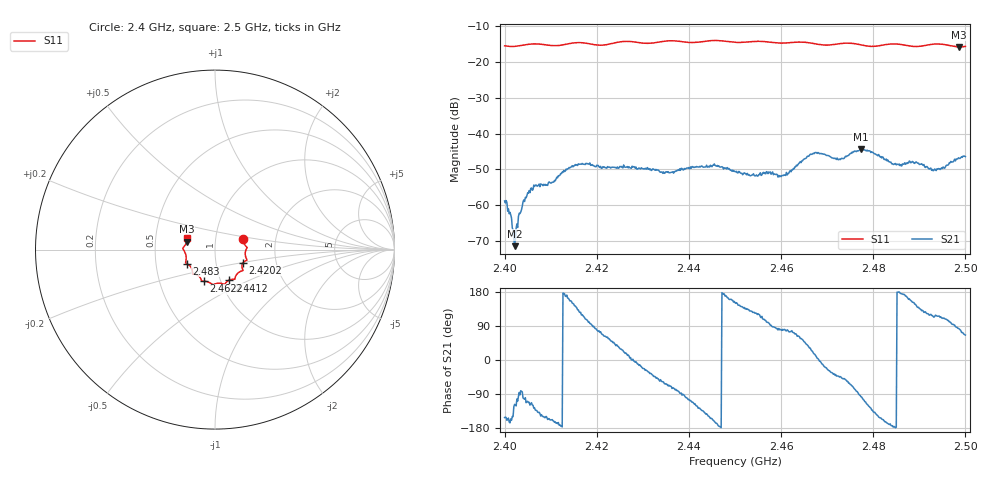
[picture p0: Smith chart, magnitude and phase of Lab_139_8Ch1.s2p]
# Hz S RI R 50
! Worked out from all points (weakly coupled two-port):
!   601 points, 2.4 GHz to 2.5 GHz, reference 50 ohm
!   highest |S21| = -44.28 dB at 2.4773 GHz (marker M1); lowest = -71.5 dB at 2.4022 GHz (marker M2)
!   lowest |S11| = -15.8 dB at 2.4987 GHz (marker M3), VSWR 1.39, Z = 36.3 + j3.29 ohm
!   |S11| at or under -10 dB: start of sweep to end of sweep
!   S12 and S22 are empty: the file has one direction only
!   S11 on the Smith chart (normalised r, x): 2.4 GHz: 1.36, +0.17; 2.4202 GHz: 1.36, -0.20; 2.4412 GHz: 1.09, -0.39; 2.4622 GHz: 0.83, -0.30; 2.483 GHz: 0.72, -0.12; 2.5 GHz: 0.73, +0.09
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2.4e9  0.1573 0.0602  -0.00101 -0.000539  0 0  0 0
2.400833e9  0.1583 0.0509  -0.000789 -0.000396  0 0  0 0
2.402167e9  0.162 0.0353  -0.000121 -0.000237  0 0  0 0
2.4045e9  0.1735 0.0177  -0.000211 -0.00126  0 0  0 0
2.406167e9  0.1788 0.0129  -0.000812 -0.00143  0 0  0 0
2.4105e9  0.1693 -0.013  -0.00196 -0.000697  0 0  0 0
2.416667e9  0.1771 -0.0588  -0.0018 0.00326  0 0  0 0
2.420167e9  0.157 -0.0724  0.000793 0.00348  0 0  0 0
2.433333e9  0.1136 -0.1519  0.00202 -0.00235  0 0  0 0
2.441167e9  0.0758 -0.172  -0.00149 -0.00301  0 0  0 0
2.445667e9  0.0524 -0.1936  -0.00347 -0.000933  0 0  0 0
2.45e9  0.0268 -0.1871  -0.00258 0.0014  0 0  0 0
2.459833e9  -0.0414 -0.1795  0.000406 0.00252  0 0  0 0
2.462167e9  -0.0625 -0.1768  0.000758 0.00282  0 0  0 0
2.466667e9  -0.0774 -0.1665  0.00466 0.0021  0 0  0 0
2.472833e9  -0.1194 -0.1362  0.00312 -0.00299  0 0  0 0
2.477333e9  -0.1258 -0.12  -0.000747 -0.00606  0 0  0 0
2.483e9  -0.1584 -0.0781  -0.00403 -0.000989  0 0  0 0
2.483333e9  -0.1601 -0.0773  -0.00398 -0.00077  0 0  0 0
2.493167e9  -0.1783 0.00367  -0.00119 0.00282  0 0  0 0
2.498667e9  -0.157 0.0441  0.000633 0.00447  0 0  0 0
2.5e9  -0.1538 0.0619  0.00195 0.00434  0 0  0 0
